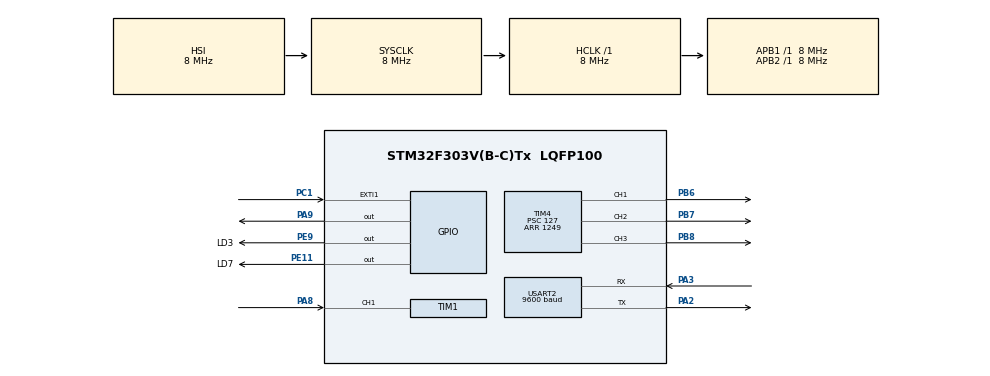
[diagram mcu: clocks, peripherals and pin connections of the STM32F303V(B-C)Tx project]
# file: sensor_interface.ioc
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Mcu.Family=STM32F3
Mcu.Name=STM32F303V(B-C)Tx
Mcu.Package=LQFP100
NVIC.EXTI1_IRQn=true\:0\:0\:false\:false\:true\:true\:true
NVIC.PriorityGroup=NVIC_PRIORITYGROUP_4
NVIC.TIM1_CC_IRQn=true\:0\:0\:false\:false\:true\:true\:true
PA2.Mode=Asynchronous
PA2.Signal=USART2_TX
PA3.Mode=Asynchronous
PA3.Signal=USART2_RX
PA8.Signal=S_TIM1_CH1
PA9.Signal=GPIO_Output
PB6.Signal=S_TIM4_CH1
PB7.Signal=S_TIM4_CH2
PB8.Signal=S_TIM4_CH3
PC1.GPIO_ModeDefaultEXTI=GPIO_MODE_IT_RISING_FALLING
PC1.Signal=GPXTI1
PC14-OSC32_IN.Mode=LSE-External-Oscillator
PC14-OSC32_IN.Signal=RCC_OSC32_IN
PC15-OSC32_OUT.Mode=LSE-External-Oscillator
PC15-OSC32_OUT.Signal=RCC_OSC32_OUT
PE11.GPIO_Label=LD7
PE11.Signal=GPIO_Output
PE9.GPIO_Label=LD3
PE9.Signal=GPIO_Output
PF0-OSC_IN.Mode=HSE-External-Oscillator
PF0-OSC_IN.Signal=RCC_OSC_IN
PF1-OSC_OUT.Mode=HSE-External-Oscillator
PF1-OSC_OUT.Signal=RCC_OSC_OUT
ProjectManager.HeapSize=0x200
ProjectManager.StackSize=0x400
ProjectManager.TargetToolchain=MDK-ARM V5.27
RCC.AHBFreq_Value=8000000
RCC.APB1Freq_Value=8000000
RCC.APB2Freq_Value=8000000
RCC.CortexFreq_Value=8000000
RCC.HSE_VALUE=8000000
RCC.HSI_VALUE=8000000
RCC.SYSCLKFreq_VALUE=8000000
SH.S_TIM1_CH1.0=TIM1_CH1,Input_Capture1_from_TI1
SH.S_TIM4_CH1.0=TIM4_CH1,PWM Generation1 CH1
SH.S_TIM4_CH2.0=TIM4_CH2,PWM Generation2 CH2
SH.S_TIM4_CH3.0=TIM4_CH3,PWM Generation3 CH3
TIM1.Channel-Input_Capture1_from_TI1=TIM_CHANNEL_1
TIM1.Prescaler=7
TIM3.Prescaler=7
TIM4.Channel-PWM\ Generation1\ CH1=TIM_CHANNEL_1
TIM4.Channel-PWM\ Generation2\ CH2=TIM_CHANNEL_2
TIM4.Channel-PWM\ Generation3\ CH3=TIM_CHANNEL_3
TIM4.Period=1249
TIM4.Prescaler=127
TIM4.Pulse-PWM\ Generation2\ CH2=0
USART2.BaudRate=9600
USART2.VirtualMode-Asynchronous=VM_ASYNC
VP_TIM3_VS_ClockSourceINT.Mode=Internal
VP_TIM4_VS_ClockSourceINT.Mode=Internal
board=custom

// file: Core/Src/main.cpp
/* USER CODE BEGIN Header */
/**
  ******************************************************************************
  * @file           : main.c
  * @brief          : Main program body
  ******************************************************************************
  * @attention
  *
  * <h2><center>&copy; Copyright (c) 2020 STMicroelectronics.
  * All rights reserved.</center></h2>
  *
  * This software component is licensed by ST under BSD 3-Clause license,
  * the "License"; You may not use this file except in compliance with the
  * License. You may obtain a copy of the License at:
  *                        opensource.org/licenses/BSD-3-Clause
  *
  ******************************************************************************
  */
/* USER CODE END Header */
#include "main.h"

/* USER CODE BEGIN Includes */
#include "UartHelper.h"
#include "string.h"
#include "Servo.h"
#include "ServoCalibrationValues.h"
#include "HC-SR04Helper.h"
#include "EncoderHelper.h"
/* USER CODE END Includes */

TIM_HandleTypeDef htim1;
TIM_HandleTypeDef htim3;
TIM_HandleTypeDef htim4;

UART_HandleTypeDef huart2;

void SystemClock_Config(void);
static void MX_GPIO_Init(void);
static void MX_TIM4_Init(void);
static void MX_USART2_UART_Init(void);
static void MX_TIM3_Init(void);
static void MX_TIM1_Init(void);

int main(void)
{
  /* USER CODE BEGIN 1 */
	TX_STM_DATA sensor_data = {STM_START_CODE, 0, 0, 0.2, 0.3, 0.4};
	RX_RPI_DATA motor_data;
  /* USER CODE END 1 */

  /* MCU Configuration--------------------------------------------------------*/

  /* Reset of all peripherals, Initializes the Flash interface and the Systick. */
  HAL_Init();

  /* Configure the system clock */
  SystemClock_Config();

  /* Initialize all configured peripherals */
  MX_GPIO_Init();
  MX_TIM4_Init();
  MX_USART2_UART_Init();
  MX_TIM3_Init();
  MX_TIM1_Init();
  /* USER CODE BEGIN 2 */
	HAL_TIM_PWM_Start(&htim4, TIM_CHANNEL_1); // tof servo
	HAL_TIM_PWM_Start(&htim4, TIM_CHANNEL_2); // steering servo
	HAL_TIM_PWM_Start(&htim4, TIM_CHANNEL_3); // drive servo
	HAL_TIM_Base_Start(&htim3); // used for delay
	HAL_TIM_IC_Start_IT(&htim1, TIM_CHANNEL_1); // used to check pulse width by hc-sro4

	UartHelper uh(&huart2);
	init_HCSR04(&htim3, &htim1);
  /* USER CODE END 2 */

  /* Infinite loop */
  /* USER CODE BEGIN WHILE */

	// Create servo objects
	Servo tof_servo = Servo(&htim4, TIM_CHANNEL_1);
	tof_servo.set_calibration_values(TOF_MIN, TOF_CENTER, TOF_MAX);

	Servo steering_servo = Servo(&htim4, TIM_CHANNEL_2);
	steering_servo.set_calibration_values(STEER_MIN, STEER_CENTER, STEER_MAX);

	Servo drive_servo = Servo(&htim4, TIM_CHANNEL_3);
	drive_servo.set_calibration_values(DRIVE_MIN, DRIVE_CENTER, DRIVE_MAX);

	// enter main loop
	#define RX
	//#define TX
	HAL_GPIO_WritePin(GPIOE, GPIO_PIN_11, GPIO_PIN_RESET); // turn off green
	HAL_GPIO_WritePin(GPIOE, GPIO_PIN_9, GPIO_PIN_RESET); // turn off red
  while (1)
  {
		#ifdef TX
		/* --------------- Collect Sensor Data --------------- */
		HCSR04_Read();
		sensor_data.ultrasonic_data = get_ultrasonic_distance();
		sensor_data.encoder_distance = get_encoder_distance();
		if(sensor_data.ultrasonic_data < 20)
		{
			HAL_GPIO_WritePin(GPIOE, GPIO_PIN_9, GPIO_PIN_SET);
			// add some stopping functionality and talk with rpi
		}
		else
		{
			HAL_GPIO_WritePin(GPIOE, GPIO_PIN_9, GPIO_PIN_RESET);
		}
		/* --------------- TX Sensor Data --------------- */
		sensor_data.frame_id++;
		uh.tx_msg((uint8_t*)(&sensor_data), sizeof(TX_STM_DATA));
		#endif

		#ifdef RX
		/* --------------- RX Motor Commands --------------- */
		//__HAL_TIM_SET_COMPARE(&htim4, TIM_CHANNEL_1, (62500/50) * 0.065);

		// byte test
		/*uint8_t buff[64] = {0};
		if(HAL_UART_Receive(&huart2, buff, 1, 1000) == HAL_TIMEOUT)
		{
			HAL_GPIO_WritePin(GPIOE, GPIO_PIN_11, GPIO_PIN_RESET); // turn off green
			HAL_GPIO_WritePin(GPIOE, GPIO_PIN_9, GPIO_PIN_SET); // turn on red
		}
		else
		{
			HAL_GPIO_WritePin(GPIOE, GPIO_PIN_11, GPIO_PIN_SET); // turn on green
			HAL_GPIO_WritePin(GPIOE, GPIO_PIN_9, GPIO_PIN_RESET); // turn off red
		}*/

		// motor message
		uint8_t result = uh.rx_msg((uint8_t*)(&motor_data), sizeof(RX_RPI_DATA), RPI_START_CODE);
		if(result == 1)
		{
			result = 0;
		  HAL_GPIO_WritePin(GPIOE, GPIO_PIN_11, GPIO_PIN_SET); // turn on green
			HAL_GPIO_WritePin(GPIOE, GPIO_PIN_9, GPIO_PIN_RESET); // turn off red
			steering_servo.turn(motor_data.steering_value);
			drive_servo.turn(motor_data.drive_value);

		}
		else
		{
			HAL_GPIO_WritePin(GPIOE, GPIO_PIN_11, GPIO_PIN_RESET); // turn off green
			HAL_GPIO_WritePin(GPIOE, GPIO_PIN_9, GPIO_PIN_SET); // turn on red
		}
		#endif
    /* USER CODE END WHILE */

  }
}

void SystemClock_Config(void)
{
  RCC_OscInitTypeDef RCC_OscInitStruct = {0};
  RCC_ClkInitTypeDef RCC_ClkInitStruct = {0};
  RCC_PeriphCLKInitTypeDef PeriphClkInit = {0};

  /** Initializes the RCC Oscillators according to the specified parameters
  * in the RCC_OscInitTypeDef structure.
  */
  RCC_OscInitStruct.OscillatorType = RCC_OSCILLATORTYPE_HSI;
  RCC_OscInitStruct.HSIState = RCC_HSI_ON;
  RCC_OscInitStruct.HSICalibrationValue = RCC_HSICALIBRATION_DEFAULT;
  RCC_OscInitStruct.PLL.PLLState = RCC_PLL_NONE;
  if (HAL_RCC_OscConfig(&RCC_OscInitStruct) != HAL_OK)
  {
    Error_Handler();
  }
  /** Initializes the CPU, AHB and APB buses clocks
  */
  RCC_ClkInitStruct.ClockType = RCC_CLOCKTYPE_HCLK|RCC_CLOCKTYPE_SYSCLK
                              |RCC_CLOCKTYPE_PCLK1|RCC_CLOCKTYPE_PCLK2;
  RCC_ClkInitStruct.SYSCLKSource = RCC_SYSCLKSOURCE_HSI;
  RCC_ClkInitStruct.AHBCLKDivider = RCC_SYSCLK_DIV1;
  RCC_ClkInitStruct.APB1CLKDivider = RCC_HCLK_DIV1;
  RCC_ClkInitStruct.APB2CLKDivider = RCC_HCLK_DIV1;

  if (HAL_RCC_ClockConfig(&RCC_ClkInitStruct, FLASH_LATENCY_0) != HAL_OK)
  {
    Error_Handler();
  }
  PeriphClkInit.PeriphClockSelection = RCC_PERIPHCLK_USART2|RCC_PERIPHCLK_TIM1;
  PeriphClkInit.Usart2ClockSelection = RCC_USART2CLKSOURCE_PCLK1;
  PeriphClkInit.Tim1ClockSelection = RCC_TIM1CLK_HCLK;
  if (HAL_RCCEx_PeriphCLKConfig(&PeriphClkInit) != HAL_OK)
  {
    Error_Handler();
  }
}

static void MX_TIM1_Init(void)
{

  TIM_MasterConfigTypeDef sMasterConfig = {0};
  TIM_IC_InitTypeDef sConfigIC = {0};

  htim1.Instance = TIM1;
  htim1.Init.Prescaler = 7;
  htim1.Init.CounterMode = TIM_COUNTERMODE_UP;
  htim1.Init.Period = 65535;
  htim1.Init.ClockDivision = TIM_CLOCKDIVISION_DIV1;
  htim1.Init.RepetitionCounter = 0;
  htim1.Init.AutoReloadPreload = TIM_AUTORELOAD_PRELOAD_DISABLE;
  if (HAL_TIM_IC_Init(&htim1) != HAL_OK)
  {
    Error_Handler();
  }
  sMasterConfig.MasterOutputTrigger = TIM_TRGO_RESET;
  sMasterConfig.MasterOutputTrigger2 = TIM_TRGO2_RESET;
  sMasterConfig.MasterSlaveMode = TIM_MASTERSLAVEMODE_DISABLE;
  if (HAL_TIMEx_MasterConfigSynchronization(&htim1, &sMasterConfig) != HAL_OK)
  {
    Error_Handler();
  }
  sConfigIC.ICPolarity = TIM_INPUTCHANNELPOLARITY_RISING;
  sConfigIC.ICSelection = TIM_ICSELECTION_DIRECTTI;
  sConfigIC.ICPrescaler = TIM_ICPSC_DIV1;
  sConfigIC.ICFilter = 0;
  if (HAL_TIM_IC_ConfigChannel(&htim1, &sConfigIC, TIM_CHANNEL_1) != HAL_OK)
  {
    Error_Handler();
  }

}

static void MX_TIM3_Init(void)
{

  TIM_ClockConfigTypeDef sClockSourceConfig = {0};
  TIM_MasterConfigTypeDef sMasterConfig = {0};

  htim3.Instance = TIM3;
  htim3.Init.Prescaler = 7;
  htim3.Init.CounterMode = TIM_COUNTERMODE_UP;
  htim3.Init.Period = 65535;
  htim3.Init.ClockDivision = TIM_CLOCKDIVISION_DIV1;
  htim3.Init.AutoReloadPreload = TIM_AUTORELOAD_PRELOAD_DISABLE;
  if (HAL_TIM_Base_Init(&htim3) != HAL_OK)
  {
    Error_Handler();
  }
  sClockSourceConfig.ClockSource = TIM_CLOCKSOURCE_INTERNAL;
  if (HAL_TIM_ConfigClockSource(&htim3, &sClockSourceConfig) != HAL_OK)
  {
    Error_Handler();
  }
  sMasterConfig.MasterOutputTrigger = TIM_TRGO_RESET;
  sMasterConfig.MasterSlaveMode = TIM_MASTERSLAVEMODE_DISABLE;
  if (HAL_TIMEx_MasterConfigSynchronization(&htim3, &sMasterConfig) != HAL_OK)
  {
    Error_Handler();
  }

}

static void MX_TIM4_Init(void)
{

  TIM_ClockConfigTypeDef sClockSourceConfig = {0};
  TIM_MasterConfigTypeDef sMasterConfig = {0};
  TIM_OC_InitTypeDef sConfigOC = {0};

  htim4.Instance = TIM4;
  htim4.Init.Prescaler = 127;
  htim4.Init.CounterMode = TIM_COUNTERMODE_UP;
  htim4.Init.Period = 1249;
  htim4.Init.ClockDivision = TIM_CLOCKDIVISION_DIV1;
  htim4.Init.AutoReloadPreload = TIM_AUTORELOAD_PRELOAD_DISABLE;
  if (HAL_TIM_Base_Init(&htim4) != HAL_OK)
  {
    Error_Handler();
  }
  sClockSourceConfig.ClockSource = TIM_CLOCKSOURCE_INTERNAL;
  if (HAL_TIM_ConfigClockSource(&htim4, &sClockSourceConfig) != HAL_OK)
  {
    Error_Handler();
  }
  if (HAL_TIM_PWM_Init(&htim4) != HAL_OK)
  {
    Error_Handler();
  }
  sMasterConfig.MasterOutputTrigger = TIM_TRGO_RESET;
  sMasterConfig.MasterSlaveMode = TIM_MASTERSLAVEMODE_DISABLE;
  if (HAL_TIMEx_MasterConfigSynchronization(&htim4, &sMasterConfig) != HAL_OK)
  {
    Error_Handler();
  }
  sConfigOC.OCMode = TIM_OCMODE_PWM1;
  sConfigOC.Pulse = 0;
  sConfigOC.OCPolarity = TIM_OCPOLARITY_HIGH;
  sConfigOC.OCFastMode = TIM_OCFAST_DISABLE;
  if (HAL_TIM_PWM_ConfigChannel(&htim4, &sConfigOC, TIM_CHANNEL_1) != HAL_OK)
  {
    Error_Handler();
  }
  if (HAL_TIM_PWM_ConfigChannel(&htim4, &sConfigOC, TIM_CHANNEL_2) != HAL_OK)
  {
    Error_Handler();
  }
  if (HAL_TIM_PWM_ConfigChannel(&htim4, &sConfigOC, TIM_CHANNEL_3) != HAL_OK)
  {
    Error_Handler();
  }
  HAL_TIM_MspPostInit(&htim4);

}

static void MX_USART2_UART_Init(void)
{

  huart2.Instance = USART2;
  huart2.Init.BaudRate = 38400;
  huart2.Init.WordLength = UART_WORDLENGTH_8B;
  huart2.Init.StopBits = UART_STOPBITS_1;
  huart2.Init.Parity = UART_PARITY_NONE;
  huart2.Init.Mode = UART_MODE_TX_RX;
  huart2.Init.HwFlowCtl = UART_HWCONTROL_NONE;
  huart2.Init.OverSampling = UART_OVERSAMPLING_16;
  huart2.Init.OneBitSampling = UART_ONE_BIT_SAMPLE_DISABLE;
  huart2.AdvancedInit.AdvFeatureInit = UART_ADVFEATURE_NO_INIT;
  if (HAL_UART_Init(&huart2) != HAL_OK)
  {
    Error_Handler();
  }

}

static void MX_GPIO_Init(void)
{
  GPIO_InitTypeDef GPIO_InitStruct = {0};

  /* GPIO Ports Clock Enable */
  __HAL_RCC_GPIOC_CLK_ENABLE();
  __HAL_RCC_GPIOF_CLK_ENABLE();
  __HAL_RCC_GPIOA_CLK_ENABLE();
  __HAL_RCC_GPIOE_CLK_ENABLE();
  __HAL_RCC_GPIOB_CLK_ENABLE();

  /*Configure GPIO pin Output Level */
  HAL_GPIO_WritePin(GPIOE, LD3_Pin|LD7_Pin, GPIO_PIN_RESET);

  /*Configure GPIO pin Output Level */
  HAL_GPIO_WritePin(GPIOA, GPIO_PIN_9, GPIO_PIN_RESET);

  /*Configure GPIO pin : PC1 */
  GPIO_InitStruct.Pin = GPIO_PIN_1;
  GPIO_InitStruct.Mode = GPIO_MODE_IT_RISING_FALLING;
  GPIO_InitStruct.Pull = GPIO_NOPULL;
  HAL_GPIO_Init(GPIOC, &GPIO_InitStruct);

  /*Configure GPIO pins : LD3_Pin LD7_Pin */
  GPIO_InitStruct.Pin = LD3_Pin|LD7_Pin;
  GPIO_InitStruct.Mode = GPIO_MODE_OUTPUT_PP;
  GPIO_InitStruct.Pull = GPIO_NOPULL;
  GPIO_InitStruct.Speed = GPIO_SPEED_FREQ_LOW;
  HAL_GPIO_Init(GPIOE, &GPIO_InitStruct);

  /*Configure GPIO pin : PA9 */
  GPIO_InitStruct.Pin = GPIO_PIN_9;
  GPIO_InitStruct.Mode = GPIO_MODE_OUTPUT_PP;
  GPIO_InitStruct.Pull = GPIO_NOPULL;
  GPIO_InitStruct.Speed = GPIO_SPEED_FREQ_LOW;
  HAL_GPIO_Init(GPIOA, &GPIO_InitStruct);

  /* EXTI interrupt init*/
  HAL_NVIC_SetPriority(EXTI1_IRQn, 0, 0);
  HAL_NVIC_EnableIRQ(EXTI1_IRQn);

}

void Error_Handler(void)
{
  __disable_irq();
  while (1)
  {
  }
}

/************************ (C) COPYRIGHT STMicroelectronics *****END OF FILE****/
